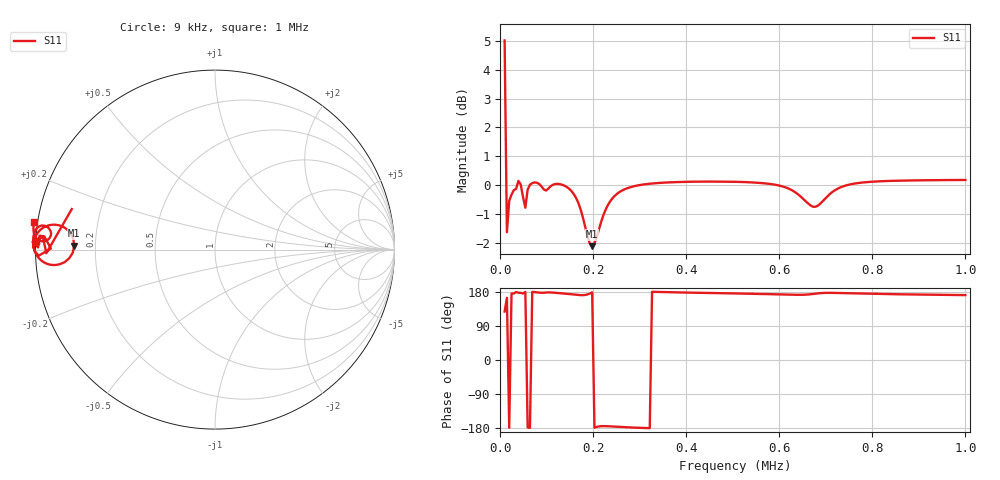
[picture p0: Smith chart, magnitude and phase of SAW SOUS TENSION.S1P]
!Agilent Technologies,E5071C,MY46109397,A.09.54
!Date: Mon Jan 01 01:43:54 2001
!Data & Calibration Information:
!Freq	S11:SOLT1(ON)
# Hz S RI R 50
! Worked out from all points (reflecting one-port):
!   201 points, 9 kHz to 1 MHz, reference 50 ohm
!   lowest |S11| = -2.1 dB at 197.3 kHz (marker M1), VSWR 8.27, Z = 6.04 + j0.661 ohm
!   phase of S11 starts at 128 deg and turns +43 deg over the sweep
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9000  -1.094 1.405
13955  -0.798 0.2257
18910  -0.9396 -0.02
23865  -0.9602 0.0751
28820  -0.9776 0.0776
33775  -0.9857 0.0124
38730  -1.017 0.0414
48640  -0.9508 0.0738
53595  -0.9144 0.00557
58550  -0.9819 -0.0336
83325  -1.004 0.0384
98190  -0.9786 0.0327
108100  -0.9958 0.0297
132875  -0.9991 0.0735
157650  -0.9579 0.1216
177470  -0.8685 0.1357
187380  -0.8092 0.0979
197290  -0.7841 0.021
217110  -0.8628 -0.0808
256750  -0.9724 -0.0567
380625  -1.012 0.028
504500  -1.011 0.0772
628375  -0.9697 0.1331
672970  -0.9131 0.0904
702700  -0.9549 0.0464
752250  -1.001 0.0717
876125  -1.012 0.1227
1000000  -1.009 0.1554
